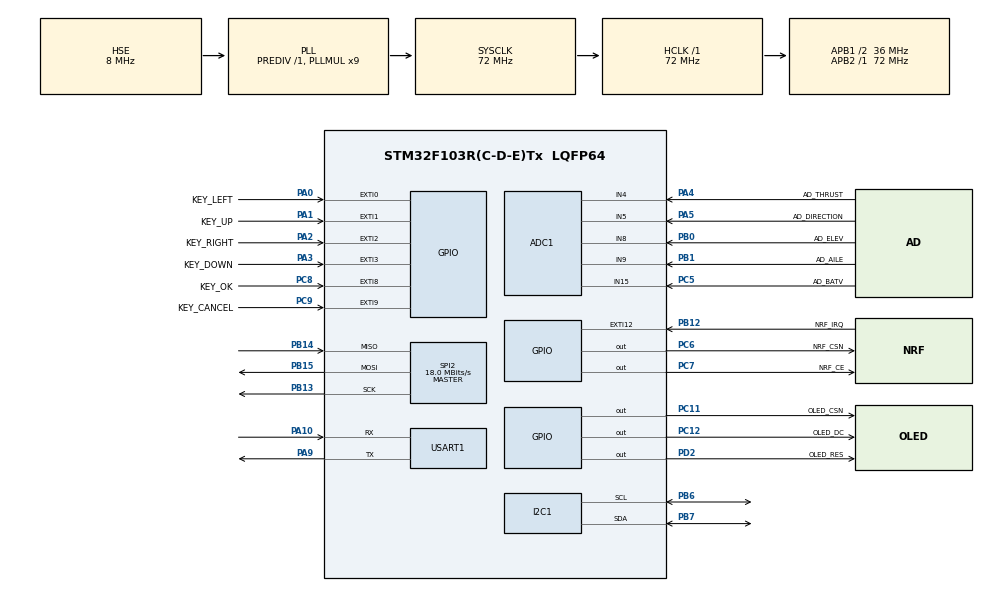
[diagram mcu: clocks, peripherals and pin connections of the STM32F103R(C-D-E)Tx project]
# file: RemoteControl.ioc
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ADC1.Channel-0\#ChannelRegularConversion=ADC_CHANNEL_4
ADC1.Channel-1\#ChannelRegularConversion=ADC_CHANNEL_4
ADC1.Channel-2\#ChannelRegularConversion=ADC_CHANNEL_4
ADC1.Channel-3\#ChannelRegularConversion=ADC_CHANNEL_4
ADC1.Channel-4\#ChannelRegularConversion=ADC_CHANNEL_4
ADC1.ContinuousConvMode=DISABLE
ADC1.NbrOfConversion=5
ADC1.NbrOfConversionFlag=1
ADC1.Rank-0\#ChannelRegularConversion=1
ADC1.Rank-1\#ChannelRegularConversion=2
ADC1.Rank-2\#ChannelRegularConversion=3
ADC1.Rank-3\#ChannelRegularConversion=4
ADC1.Rank-4\#ChannelRegularConversion=5
ADC1.SamplingTime-0\#ChannelRegularConversion=ADC_SAMPLETIME_28CYCLES_5
ADC1.SamplingTime-1\#ChannelRegularConversion=ADC_SAMPLETIME_28CYCLES_5
ADC1.SamplingTime-2\#ChannelRegularConversion=ADC_SAMPLETIME_28CYCLES_5
ADC1.SamplingTime-3\#ChannelRegularConversion=ADC_SAMPLETIME_28CYCLES_5
ADC1.SamplingTime-4\#ChannelRegularConversion=ADC_SAMPLETIME_28CYCLES_5
ADC1.master=1
Dma.ADC1.2.Direction=DMA_PERIPH_TO_MEMORY
Dma.ADC1.2.Instance=DMA1_Channel1
Dma.ADC1.2.MemDataAlignment=DMA_MDATAALIGN_HALFWORD
Dma.ADC1.2.MemInc=DMA_MINC_ENABLE
Dma.ADC1.2.Mode=DMA_NORMAL
Dma.ADC1.2.PeriphDataAlignment=DMA_PDATAALIGN_HALFWORD
Dma.ADC1.2.PeriphInc=DMA_PINC_DISABLE
Dma.ADC1.2.Priority=DMA_PRIORITY_HIGH
Dma.Request0=USART1_RX
Dma.Request1=USART1_TX
Dma.Request2=ADC1
Dma.USART1_RX.0.Direction=DMA_PERIPH_TO_MEMORY
Dma.USART1_RX.0.Instance=DMA1_Channel5
Dma.USART1_RX.0.MemDataAlignment=DMA_MDATAALIGN_BYTE
Dma.USART1_RX.0.MemInc=DMA_MINC_ENABLE
Dma.USART1_RX.0.Mode=DMA_NORMAL
Dma.USART1_RX.0.PeriphDataAlignment=DMA_PDATAALIGN_BYTE
Dma.USART1_RX.0.PeriphInc=DMA_PINC_DISABLE
Dma.USART1_RX.0.Priority=DMA_PRIORITY_MEDIUM
Dma.USART1_TX.1.Direction=DMA_MEMORY_TO_PERIPH
Dma.USART1_TX.1.Instance=DMA1_Channel4
Dma.USART1_TX.1.MemDataAlignment=DMA_MDATAALIGN_BYTE
Dma.USART1_TX.1.MemInc=DMA_MINC_ENABLE
Dma.USART1_TX.1.Mode=DMA_NORMAL
Dma.USART1_TX.1.PeriphDataAlignment=DMA_PDATAALIGN_BYTE
Dma.USART1_TX.1.PeriphInc=DMA_PINC_DISABLE
Dma.USART1_TX.1.Priority=DMA_PRIORITY_MEDIUM
Mcu.Family=STM32F1
Mcu.Name=STM32F103R(C-D-E)Tx
Mcu.Package=LQFP64
NVIC.DMA1_Channel1_IRQn=true\:0\:0\:false\:false\:true\:false\:true
NVIC.DMA1_Channel4_IRQn=true\:0\:0\:false\:false\:true\:false\:true
NVIC.DMA1_Channel5_IRQn=true\:0\:0\:false\:false\:true\:false\:true
NVIC.PriorityGroup=NVIC_PRIORITYGROUP_4
NVIC.USART1_IRQn=true\:0\:0\:false\:false\:true\:true\:true
PA0-WKUP.GPIO_Label=KEY_LEFT
PA0-WKUP.Signal=GPXTI0
PA1.GPIO_Label=KEY_UP
PA1.Signal=GPXTI1
PA10.Mode=Asynchronous
PA10.Signal=USART1_RX
PA13.Mode=Serial_Wire
PA13.Signal=SYS_JTMS-SWDIO
PA14.Mode=Serial_Wire
PA14.Signal=SYS_JTCK-SWCLK
PA2.GPIO_Label=KEY_RIGHT
PA2.Signal=GPXTI2
PA3.GPIO_Label=KEY_DOWN
PA3.Signal=GPXTI3
PA4.GPIO_Label=AD_THRUST
PA4.Signal=ADCx_IN4
PA5.GPIO_Label=AD_DIRECTION
PA5.Signal=ADCx_IN5
PA9.Mode=Asynchronous
PA9.Signal=USART1_TX
PB0.GPIO_Label=AD_ELEV
PB0.Signal=ADCx_IN8
PB1.GPIO_Label=AD_AILE
PB1.Signal=ADCx_IN9
PB12.GPIO_Label=NRF_IRQ
PB12.Signal=GPXTI12
PB13.Mode=Full_Duplex_Master
PB13.Signal=SPI2_SCK
PB14.Mode=Full_Duplex_Master
PB14.Signal=SPI2_MISO
PB15.Mode=Full_Duplex_Master
PB15.Signal=SPI2_MOSI
PB6.Mode=I2C
PB6.Signal=I2C1_SCL
PB7.Mode=I2C
PB7.Signal=I2C1_SDA
PC11.GPIO_Label=OLED_CSN
PC11.Signal=GPIO_Output
PC12.GPIO_Label=OLED_DC
PC12.Signal=GPIO_Output
PC5.GPIO_Label=AD_BATV
PC5.Signal=ADCx_IN15
PC6.GPIO_Label=NRF_CSN
PC6.Signal=GPIO_Output
PC7.GPIO_Label=NRF_CE
PC7.Signal=GPIO_Output
PC8.GPIO_Label=KEY_OK
PC8.Signal=GPXTI8
PC9.GPIO_Label=KEY_CANCEL
PC9.Signal=GPXTI9
PD0-OSC_IN.Mode=HSE-External-Oscillator
PD0-OSC_IN.Signal=RCC_OSC_IN
PD1-OSC_OUT.Mode=HSE-External-Oscillator
PD1-OSC_OUT.Signal=RCC_OSC_OUT
PD2.GPIO_Label=OLED_RES
PD2.Signal=GPIO_Output
ProjectManager.HeapSize=0x200
ProjectManager.StackSize=0x400
ProjectManager.TargetToolchain=Makefile
RCC.ADCPresc=RCC_ADCPCLK2_DIV6
RCC.AHBFreq_Value=72000000
RCC.APB1CLKDivider=RCC_HCLK_DIV2
RCC.APB1Freq_Value=36000000
RCC.APB1TimFreq_Value=72000000
RCC.APB2Freq_Value=72000000
RCC.APB2TimFreq_Value=72000000
RCC.HCLKFreq_Value=72000000
RCC.PLLMUL=RCC_PLL_MUL9
RCC.PLLSourceVirtual=RCC_PLLSOURCE_HSE
RCC.SYSCLKFreq_VALUE=72000000
RCC.SYSCLKSource=RCC_SYSCLKSOURCE_PLLCLK
RCC.USBFreq_Value=72000000
SH.ADCx_IN15.0=ADC1_IN15,IN15
SH.ADCx_IN4.0=ADC1_IN4,IN4
SH.ADCx_IN5.0=ADC1_IN5,IN5
SH.ADCx_IN8.0=ADC1_IN8,IN8
SH.ADCx_IN9.0=ADC1_IN9,IN9
SPI2.CalculateBaudRate=18.0 MBits/s
SPI2.Direction=SPI_DIRECTION_2LINES
SPI2.Mode=SPI_MODE_MASTER
SPI2.VirtualType=VM_MASTER
USART1.VirtualMode=VM_ASYNC
board=custom

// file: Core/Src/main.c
/* USER CODE BEGIN Header */
/**
  ******************************************************************************
  * @file           : main.c
  * @brief          : Main program body
  ******************************************************************************
  * @attention
  *
  * <h2><center>&copy; Copyright (c) 2020 STMicroelectronics.
  * All rights reserved.</center></h2>
  *
  * This software component is licensed by ST under BSD 3-Clause license,
  * the "License"; You may not use this file except in compliance with the
  * License. You may obtain a copy of the License at:
  *                        opensource.org/licenses/BSD-3-Clause
  *
  ******************************************************************************
  */
/* USER CODE END Header */
#include "main.h"
#include "adc.h"
#include "dma.h"
#include "i2c.h"
#include "spi.h"
#include "usart.h"
#include "gpio.h"

/* USER CODE BEGIN Includes */
#include "nrf24l01.h"
#include "string.h"
/* USER CODE END Includes */

void SystemClock_Config(void);
/* USER CODE BEGIN PFP */
uint16_t ADC_Value[5];
static uint8_t Cnt=0;
uint8_t TX_data[10]={0,0,'h','e','l','l','o','w','o','r'};
/* USER CODE END PFP */

int main(void)
{

  /* MCU Configuration--------------------------------------------------------*/

  /* Reset of all peripherals, Initializes the Flash interface and the Systick. */
  HAL_Init();

  /* Configure the system clock */
  SystemClock_Config();

  /* Initialize all configured peripherals */
  MX_GPIO_Init();
  MX_DMA_Init();
  MX_ADC1_Init();
  MX_I2C1_Init();
  MX_SPI2_Init();
  MX_USART1_UART_Init();
  /* USER CODE BEGIN 2 */
  NRF_Init(&hspi2,1,NRF_CSN_GPIO_Port,NRF_CSN_Pin,NRF_CE_GPIO_Port,NRF_CE_Pin);
  //NRF_Set_Tx_Addr(tx_addr,sizeof(tx_addr));  // 不知道为什么，设置地址后，发送和接收就出现问题。

  /* USER CODE END 2 */

  /* Infinite loop */
  while (1)
  {
      HAL_ADC_Start_DMA(&hadc1,(uint32_t *)ADC_Value,5);
      HAL_Delay(5);
  }
}

void HAL_GPIO_EXTI_Callback(uint16_t GPIO_Pin){
  if(GPIO_Pin>=GPIO_PIN_8){
    GPIO_Pin>>=4;
  }
  TX_data[1]|=GPIO_Pin;
}
void SystemClock_Config(void)
{
  RCC_OscInitTypeDef RCC_OscInitStruct = {0};
  RCC_ClkInitTypeDef RCC_ClkInitStruct = {0};
  RCC_PeriphCLKInitTypeDef PeriphClkInit = {0};

  /** Initializes the RCC Oscillators according to the specified parameters
  * in the RCC_OscInitTypeDef structure.
  */
  RCC_OscInitStruct.OscillatorType = RCC_OSCILLATORTYPE_HSE;
  RCC_OscInitStruct.HSEState = RCC_HSE_ON;
  RCC_OscInitStruct.HSEPredivValue = RCC_HSE_PREDIV_DIV1;
  RCC_OscInitStruct.HSIState = RCC_HSI_ON;
  RCC_OscInitStruct.PLL.PLLState = RCC_PLL_ON;
  RCC_OscInitStruct.PLL.PLLSource = RCC_PLLSOURCE_HSE;
  RCC_OscInitStruct.PLL.PLLMUL = RCC_PLL_MUL9;
  if (HAL_RCC_OscConfig(&RCC_OscInitStruct) != HAL_OK)
  {
    Error_Handler();
  }
  /** Initializes the CPU, AHB and APB buses clocks
  */
  RCC_ClkInitStruct.ClockType = RCC_CLOCKTYPE_HCLK|RCC_CLOCKTYPE_SYSCLK
                              |RCC_CLOCKTYPE_PCLK1|RCC_CLOCKTYPE_PCLK2;
  RCC_ClkInitStruct.SYSCLKSource = RCC_SYSCLKSOURCE_PLLCLK;
  RCC_ClkInitStruct.AHBCLKDivider = RCC_SYSCLK_DIV1;
  RCC_ClkInitStruct.APB1CLKDivider = RCC_HCLK_DIV2;
  RCC_ClkInitStruct.APB2CLKDivider = RCC_HCLK_DIV1;

  if (HAL_RCC_ClockConfig(&RCC_ClkInitStruct, FLASH_LATENCY_2) != HAL_OK)
  {
    Error_Handler();
  }
  PeriphClkInit.PeriphClockSelection = RCC_PERIPHCLK_ADC;
  PeriphClkInit.AdcClockSelection = RCC_ADCPCLK2_DIV6;
  if (HAL_RCCEx_PeriphCLKConfig(&PeriphClkInit) != HAL_OK)
  {
    Error_Handler();
  }
}

/* USER CODE BEGIN 4 */
void Ms_Handler(){

}

void HAL_ADC_ConvCpltCallback(ADC_HandleTypeDef* hadc)
{
  if(hadc->Instance==ADC1){
      memcpy(TX_data+2,ADC_Value,4*2);
      TX_data[0]=Cnt;
      NRF_Install_TX_Data(TX_data,10);
      NRF_Send_Message();
      TX_data[1]=0;//清空按键
      Cnt++;
  }
}

/* USER CODE END 4 */

void Error_Handler(void)
{
}

/************************ (C) COPYRIGHT STMicroelectronics *****END OF FILE****/
